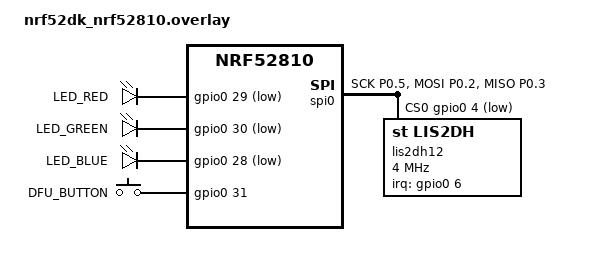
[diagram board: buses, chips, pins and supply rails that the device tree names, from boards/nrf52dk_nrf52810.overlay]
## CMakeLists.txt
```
cmake_minimum_required(VERSION 3.20.0)
set(BOARD_ROOT ${CMAKE_CURRENT_LIST_DIR})
find_package(Zephyr REQUIRED HINTS $ENV{ZEPHYR_BASE})
project(trap_beacon_lis2dh_spi)
target_sources(app PRIVATE src/main.c)
```

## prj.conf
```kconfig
CONFIG_BT=y
CONFIG_BT_BROADCASTER=y
CONFIG_BT_PERIPHERAL=y
CONFIG_BT_DEVICE_NAME="YarnBeacon"

CONFIG_GPIO=y
CONFIG_SPI=y


CONFIG_MAIN_STACK_SIZE=1536
CONFIG_SYSTEM_WORKQUEUE_STACK_SIZE=1024
CONFIG_ISR_STACK_SIZE=1024
CONFIG_IDLE_STACK_SIZE=256

CONFIG_BT_MAX_CONN=1
CONFIG_BT_RX_STACK_SIZE=1024
CONFIG_BT_HCI_TX_STACK_SIZE=512
CONFIG_BT_BUF_CMD_TX_COUNT=2
CONFIG_BT_BUF_EVT_RX_COUNT=2
CONFIG_BT_BUF_ACL_RX_COUNT=2
CONFIG_BT_BUF_ACL_TX_COUNT=1
CONFIG_BT_L2CAP_TX_BUF_COUNT=2
CONFIG_BT_CONN_TX_MAX=2
CONFIG_BT_CTLR_DATA_LENGTH_MAX=27
CONFIG_BT_BUF_ACL_TX_SIZE=27
CONFIG_BT_BUF_ACL_RX_SIZE=27
```

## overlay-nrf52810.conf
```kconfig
CONFIG_BT_SMP=n
CONFIG_BT_SETTINGS=n
CONFIG_CONSOLE=y
CONFIG_PRINTK=y
```

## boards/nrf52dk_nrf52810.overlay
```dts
/ {
    leds {
        compatible = "gpio-leds";
        led_red: red {
            gpios = <&gpio0 29 GPIO_ACTIVE_LOW>;
            label = "LED_RED";
        };
        led_green: green {
            gpios = <&gpio0 30 GPIO_ACTIVE_LOW>;
            label = "LED_GREEN";
        };
        led_blue: blue {
            gpios = <&gpio0 28 GPIO_ACTIVE_LOW>;
            label = "LED_BLUE";
        };
    };

    buttons {
        compatible = "gpio-keys";
        dfu_button: dfu_button {
            gpios = <&gpio0 31 GPIO_ACTIVE_HIGH>;
            label = "DFU_BUTTON";
        };
    };

    aliases {
        led0 = &led_red;
        led1 = &led_green;
        led2 = &led_blue;
        sw0 = &dfu_button;
    };
};

/* Pin control for SPIM0: SCK=P0.05, MOSI=P0.02, MISO=P0.03 */
&pinctrl {
    spi0_default: spi0_default {
        group1 {
            psels = <NRF_PSEL(SPIM_SCK, 0, 5)>,
                    <NRF_PSEL(SPIM_MOSI, 0, 2)>,
                    <NRF_PSEL(SPIM_MISO, 0, 3)>;
        };
    };
    spi0_sleep: spi0_sleep {
        group1 {
            psels = <NRF_PSEL(SPIM_SCK, 0, 5)>,
                    <NRF_PSEL(SPIM_MOSI, 0, 2)>,
                    <NRF_PSEL(SPIM_MISO, 0, 3)>;
            low-power-enable;
        };
    };
};

&spi0 {
    status = "okay";
    pinctrl-0 = <&spi0_default>;
    pinctrl-1 = <&spi0_sleep>;
    pinctrl-names = "default", "sleep";

    /* CS = P0.04 (active low) */
    cs-gpios = <&gpio0 4 GPIO_ACTIVE_LOW>;

    lis2dh12: lis2dh12@0 {
        compatible = "st,lis2dh";
        reg = <0>;                          /* CS index 0 */
        spi-max-frequency = <4000000>;
        /* INT1 -> P0.06 (active high) */
        irq-gpios = <&gpio0 6 GPIO_ACTIVE_HIGH>;
        status = "okay";
    };
};
```

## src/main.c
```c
#include <zephyr/kernel.h>
#include <zephyr/device.h>
#include <zephyr/devicetree.h>
#include <zephyr/drivers/gpio.h>
#include <zephyr/drivers/spi.h>
#include <zephyr/bluetooth/bluetooth.h>
#include <zephyr/bluetooth/hci.h>
#include <zephyr/bluetooth/conn.h>
#include <zephyr/bluetooth/gatt.h>
#include <string.h>

/* --- LIS2DH12 accelerometer configuration ------------------------------ */

#define LIS_NODE DT_NODELABEL(lis2dh12)
#if !DT_NODE_EXISTS(LIS_NODE)
#error "LIS2DH12 node missing. Check board overlay."
#endif

static const struct spi_dt_spec lis =
    SPI_DT_SPEC_GET(LIS_NODE, SPI_WORD_SET(8) | SPI_TRANSFER_MSB, 0);

static const struct gpio_dt_spec lis_irq =
    GPIO_DT_SPEC_GET_OR(LIS_NODE, irq_gpios, {0});

#define REG_CTRL1    0x20
#define REG_CTRL3    0x22
#define REG_CTRL4    0x23
#define REG_CTRL5    0x24
#define REG_INT1_CFG 0x30
#define REG_INT1_SRC 0x31
#define REG_INT1_THS 0x32
#define REG_INT1_DUR 0x33

#define LIS_SPI_READ    0x80
#define LIS_SPI_AUTOINC 0x40

/* --- LEDs --------------------------------------------------------------- */

#define LED_RED_NODE   DT_ALIAS(led0)
#define LED_GREEN_NODE DT_ALIAS(led1)
#define LED_BLUE_NODE  DT_ALIAS(led2)
static const struct gpio_dt_spec led_red   = GPIO_DT_SPEC_GET(LED_RED_NODE, gpios);
static const struct gpio_dt_spec led_green = GPIO_DT_SPEC_GET(LED_GREEN_NODE, gpios);
static const struct gpio_dt_spec led_blue  = GPIO_DT_SPEC_GET(LED_BLUE_NODE, gpios);

/* --- User button ------------------------------------------------------- */

#define SW0_NODE DT_ALIAS(sw0)
#if !DT_NODE_HAS_STATUS(SW0_NODE, okay)
#warning "No sw0 alias in DT; button disabled"
#else
static const struct gpio_dt_spec user_btn = GPIO_DT_SPEC_GET(SW0_NODE, gpios);
#endif

/* --- Beacon payload ---------------------------------------------------- */

/* Manufacturer data layout: [CompanyID(2)][state][battery] */
#define MFG_STATE_IDX 2
#define MFG_BATT_IDX  3
static uint8_t mfg_payload[] = { 0xFF, 0xFF, 0x00, 0x00 };

static uint8_t triggered_state;
static uint8_t battery_state = 1; /* 1 = good, 0 = low */
static uint32_t trigger_count;
static int64_t last_trigger_ms;

/* Advertised name. Updated via phone app; default placeholder. */
static char devname[20] = "YMT-UNNAMED";

static struct bt_data ad_nonconn[] = {
    BT_DATA(BT_DATA_MANUFACTURER_DATA, mfg_payload, sizeof(mfg_payload)),
};

static struct bt_data ad_conn[2]; /* filled at runtime */

/* Advertising parameters */
static const struct bt_le_adv_param adv_slow = {
    .options = BT_LE_ADV_OPT_USE_IDENTITY,
    .interval_min = 0x1F40, /* 5 s */
    .interval_max = 0x1F40, /* 5 s */
};

static const struct bt_le_adv_param adv_fast = {
    .options = BT_LE_ADV_OPT_USE_IDENTITY,
    .interval_min = 0x00A0, /* 100 ms */
    .interval_max = 0x00F0, /* 150 ms */
};

static const struct bt_le_adv_param adv_conn = {
    .options = BT_LE_ADV_OPT_CONNECTABLE | BT_LE_ADV_OPT_USE_IDENTITY,
    .interval_min = 0x00A0,
    .interval_max = 0x00F0,
};

/* Work items ------------------------------------------------------------- */

static struct k_work_delayable slow_adv_work;
static struct k_work_delayable conn_timeout_work;
static struct k_work_delayable session_timeout_work;
static struct k_work_delayable battery_work;

struct flash_ctx {
    struct k_work_delayable work;
    const struct gpio_dt_spec *led;
};

static void flash_cycle(struct k_work *work)
{
    struct flash_ctx *ctx = CONTAINER_OF(work, struct flash_ctx, work);
    gpio_pin_set_dt(ctx->led, 1);
    k_msleep(100);
    gpio_pin_set_dt(ctx->led, 0);
    k_work_schedule(&ctx->work, K_SECONDS(5));
}

static inline void flash_ctx_init(struct flash_ctx *ctx,
                                  const struct gpio_dt_spec *led)
{
    k_work_init_delayable(&ctx->work, flash_cycle);
    ctx->led = led;
}

static inline void flash_ctx_start(struct flash_ctx *ctx)
{
    k_work_cancel_delayable(&ctx->work);
    k_work_schedule(&ctx->work, K_NO_WAIT);
}

static inline void flash_ctx_stop(struct flash_ctx *ctx)
{
    k_work_cancel_delayable(&ctx->work);
    gpio_pin_set_dt(ctx->led, 0);
}

/* Power-on self-test LED sequence: red, green, blue */
static void led_post(void)
{
    const struct gpio_dt_spec *seq[] = { &led_red, &led_green, &led_blue };
    for (size_t i = 0; i < ARRAY_SIZE(seq); i++) {
        gpio_pin_set_dt(seq[i], 1);
        k_msleep(100);
        gpio_pin_set_dt(seq[i], 0);
        k_msleep(100);
    }
}

static void flash_green_once(struct k_work *work)
{
    ARG_UNUSED(work);
    gpio_pin_set_dt(&led_green, 1);
    k_msleep(100);
    gpio_pin_set_dt(&led_green, 0);
}

static void flash_green_twice(struct k_work *work)
{
    ARG_UNUSED(work);
    for (int i = 0; i < 2; i++) {
        gpio_pin_set_dt(&led_green, 1);
        k_msleep(100);
        gpio_pin_set_dt(&led_green, 0);
        k_msleep(100);
    }
}

static struct flash_ctx red_flash;
static struct flash_ctx blue_flash;
static struct k_work green_flash_work;
static struct k_work green_double_work;

static bool connectable_mode;
static struct bt_conn *curr_conn;

static int lis_config_high_g(uint8_t fs_sel, uint8_t ths_raw, uint8_t dur);

/* --- GATT configuration service ---------------------------------------- */

#define BT_UUID_CFG_SERVICE_VAL   BT_UUID_128_ENCODE(0x4e9a0001, 0x9f31, 0x415b, 0x8f82, 0x94dfc6201ca8)
#define BT_UUID_ACCEL_THRESH_VAL  BT_UUID_128_ENCODE(0x4e9a0002, 0x9f31, 0x415b, 0x8f82, 0x94dfc6201ca8)
#define BT_UUID_CFG_SERVICE       BT_UUID_DECLARE_128(BT_UUID_CFG_SERVICE_VAL)
#define BT_UUID_ACCEL_THRESH      BT_UUID_DECLARE_128(BT_UUID_ACCEL_THRESH_VAL)

static uint8_t accel_thresh = 0x14;

static ssize_t read_thresh(struct bt_conn *conn, const struct bt_gatt_attr *attr,
                           void *buf, uint16_t len, uint16_t offset)
{
    return bt_gatt_attr_read(conn, attr, buf, len, offset,
                             attr->user_data, sizeof(accel_thresh));
}

static ssize_t write_thresh(struct bt_conn *conn, const struct bt_gatt_attr *attr,
                            const void *buf, uint16_t len, uint16_t offset, uint8_t flags)
{
    if (len != 1 || offset != 0) {
        return BT_GATT_ERR(BT_ATT_ERR_INVALID_ATTRIBUTE_LEN);
    }

    uint8_t *val = attr->user_data;
    *val = *(const uint8_t *)buf;
    (void)lis_config_high_g(3, *val, 0x01);
    k_work_submit(&green_flash_work);
    return len;
}

BT_GATT_SERVICE_DEFINE(cfg_svc,
    BT_GATT_PRIMARY_SERVICE(BT_UUID_CFG_SERVICE),
    BT_GATT_CHARACTERISTIC(BT_UUID_ACCEL_THRESH,
                           BT_GATT_CHRC_READ | BT_GATT_CHRC_WRITE,
                           BT_GATT_PERM_READ | BT_GATT_PERM_WRITE,
                           read_thresh, write_thresh, &accel_thresh),
);

/* --- Helpers ------------------------------------------------------------ */

static void update_adv_payload(void)
{
    mfg_payload[MFG_STATE_IDX] = triggered_state;
    mfg_payload[MFG_BATT_IDX]  = battery_state;

    if (connectable_mode) {
        ad_conn[1].data = mfg_payload;
        ad_conn[1].data_len = sizeof(mfg_payload);
        (void)bt_le_adv_update_data(ad_conn, ARRAY_SIZE(ad_conn), NULL, 0);
    } else {
        (void)bt_le_adv_update_data(ad_nonconn, ARRAY_SIZE(ad_nonconn), NULL, 0);
    }
}

static int lis_write_reg(uint8_t reg, uint8_t val)
{
    uint8_t tx[2] = { reg & ~(LIS_SPI_READ | LIS_SPI_AUTOINC), val };
    const struct spi_buf buf = { .buf = tx, .len = sizeof(tx) };
    const struct spi_buf_set txs = { .buffers = &buf, .count = 1 };
    return spi_write_dt(&lis, &txs);
}

static int lis_read_reg(uint8_t reg, uint8_t *val)
{
    uint8_t tx = reg | LIS_SPI_READ;
    const struct spi_buf txb = { .buf = &tx, .len = 1 };
    const struct spi_buf rxb = { .buf = val, .len = 1 };
    const struct spi_buf_set txs = { .buffers = &txb, .count = 1 };
    const struct spi_buf_set rxs = { .buffers = &rxb, .count = 1 };
    return spi_transceive_dt(&lis, &txs, &rxs);
}

static int lis_config_high_g(uint8_t fs_sel, uint8_t ths_raw, uint8_t dur)
{
    int err;
    err = lis_write_reg(REG_CTRL1, 0x27);
    if (err) return err;
    uint8_t ctrl4 = (fs_sel & 0x3) << 4;
    err = lis_write_reg(REG_CTRL4, ctrl4);
    if (err) return err;
    err = lis_write_reg(REG_CTRL5, 0x08);
    if (err) return err;
    err = lis_write_reg(REG_INT1_THS, ths_raw);
    if (err) return err;
    err = lis_write_reg(REG_INT1_DUR, dur);
    if (err) return err;
    err = lis_write_reg(REG_INT1_CFG, 0x2A);
    if (err) return err;
    err = lis_write_reg(REG_CTRL3, 0x40);
    return err;
}

static void lis_clear_int(void)
{
    uint8_t src;
    (void)lis_read_reg(REG_INT1_SRC, &src);
}

static void switch_to_slow_adv(struct k_work *work)
{
    ARG_UNUSED(work);
    connectable_mode = false;
    (void)bt_le_adv_stop();
    (void)bt_le_adv_start(&adv_slow, ad_nonconn, ARRAY_SIZE(ad_nonconn), NULL, 0);
    flash_ctx_stop(&red_flash);
    flash_ctx_stop(&blue_flash);
}

static void conn_timeout(struct k_work *work)
{
    ARG_UNUSED(work);
    switch_to_slow_adv(NULL);
}

static void session_timeout(struct k_work *work)
{
    ARG_UNUSED(work);
    if (curr_conn) {
        bt_conn_disconnect(curr_conn, BT_HCI_ERR_REMOTE_USER_TERM_CONN);
    }
}

/* Battery check placeholder */
static void check_battery(struct k_work *work)
{
    ARG_UNUSED(work);
    /* TODO: Read actual battery level via ADC */
    battery_state = 1;
    update_adv_payload();
    k_work_reschedule(&battery_work, K_MINUTES(1));
}

static void start_connectable_window(int seconds)
{
    k_work_cancel_delayable(&slow_adv_work);
    k_work_cancel_delayable(&conn_timeout_work);

    connectable_mode = true;

    ad_conn[0].type = BT_DATA_NAME_COMPLETE;
    ad_conn[0].data = devname;
    ad_conn[0].data_len = strlen(devname);
    ad_conn[1].type = BT_DATA_MANUFACTURER_DATA;
    ad_conn[1].data = mfg_payload;
    ad_conn[1].data_len = sizeof(mfg_payload);

    (void)bt_le_adv_stop();
    (void)bt_le_adv_start(&adv_conn, ad_conn, ARRAY_SIZE(ad_conn), NULL, 0);
    flash_ctx_stop(&blue_flash);
    flash_ctx_start(&red_flash);
    k_work_reschedule(&conn_timeout_work, K_SECONDS(seconds));
}

static void set_triggered_and_burst(bool value)
{
    triggered_state = value ? 1 : 0;
    if (triggered_state) {
        trigger_count++;
        last_trigger_ms = k_uptime_get();
    }
    update_adv_payload();
    (void)bt_le_adv_stop();
    (void)bt_le_adv_start(&adv_fast, ad_nonconn, ARRAY_SIZE(ad_nonconn), NULL, 0);
    k_work_reschedule(&slow_adv_work, K_SECONDS(45));
}

static void reset_trigger(void)
{
    triggered_state = 0;
    update_adv_payload();
}

/* --- ISRs --------------------------------------------------------------- */

static struct gpio_callback irq_cb;
static struct gpio_callback btn_cb;

static void lis_int_isr(const struct device *dev, struct gpio_callback *cb, uint32_t pins)
{
    ARG_UNUSED(dev); ARG_UNUSED(cb); ARG_UNUSED(pins);
    lis_clear_int();
    set_triggered_and_burst(true);
}

static int64_t btn_pressed_ms = -1;
#define LONG_PRESS_MS 2000
#define SHORT_PRESS_MAX_MS 1000
#define SHORT_MIN_MS 50

static void user_button_isr(const struct device *dev, struct gpio_callback *cb, uint32_t pins)
{
    ARG_UNUSED(dev); ARG_UNUSED(cb); ARG_UNUSED(pins);
#if DT_NODE_HAS_STATUS(SW0_NODE, okay)
    int level = gpio_pin_get_dt(&user_btn);
    int64_t now = k_uptime_get();
    if (level > 0) {
        btn_pressed_ms = now;
    } else {
        if (btn_pressed_ms >= 0) {
            int64_t dur = now - btn_pressed_ms;
            btn_pressed_ms = -1;
            if (dur >= LONG_PRESS_MS) {
                start_connectable_window(60);
            } else if (dur >= SHORT_MIN_MS && dur <= SHORT_PRESS_MAX_MS) {
                reset_trigger();
                k_work_submit(&green_double_work);
            }
        }
    }
#endif
}

/* --- Connection callbacks ---------------------------------------------- */

static void connected(struct bt_conn *conn, uint8_t err)
{
    if (err) {
        return;
    }
    curr_conn = bt_conn_ref(conn);
    k_work_cancel_delayable(&conn_timeout_work);
    k_work_reschedule(&session_timeout_work, K_MINUTES(2));
    flash_ctx_stop(&red_flash);
    flash_ctx_start(&blue_flash);
}

static void disconnected(struct bt_conn *conn, uint8_t reason)
{
    ARG_UNUSED(reason);
    if (curr_conn) {
        bt_conn_unref(curr_conn);
        curr_conn = NULL;
    }
    k_work_cancel_delayable(&session_timeout_work);
    conn_timeout(NULL);
}

static struct bt_conn_cb conn_cbs = {
    .connected = connected,
    .disconnected = disconnected,
};

/* --- Main ---------------------------------------------------------------- */

int main(void)
{
    int err;

    if (!device_is_ready(lis.bus))       { return -ENODEV; }
    if (!device_is_ready(lis_irq.port))  { return -ENODEV; }
    if (!device_is_ready(led_red.port))  { return -ENODEV; }
#if DT_NODE_HAS_STATUS(SW0_NODE, okay)
    if (!device_is_ready(user_btn.port)) { return -ENODEV; }
#endif

    gpio_pin_configure_dt(&led_red, GPIO_OUTPUT_INACTIVE);
    gpio_pin_configure_dt(&led_green, GPIO_OUTPUT_INACTIVE);
    gpio_pin_configure_dt(&led_blue, GPIO_OUTPUT_INACTIVE);

    led_post();

    gpio_pin_configure_dt(&lis_irq, GPIO_INPUT | GPIO_PULL_UP);
    gpio_pin_interrupt_configure_dt(&lis_irq, GPIO_INT_EDGE_TO_ACTIVE);
    gpio_init_callback(&irq_cb, lis_int_isr, BIT(lis_irq.pin));
    gpio_add_callback(lis_irq.port, &irq_cb);

#if DT_NODE_HAS_STATUS(SW0_NODE, okay)
    gpio_pin_configure_dt(&user_btn, GPIO_INPUT | GPIO_PULL_UP);
    gpio_init_callback(&btn_cb, user_button_isr, BIT(user_btn.pin));
    gpio_add_callback(user_btn.port, &btn_cb);
    gpio_pin_interrupt_configure_dt(&user_btn, GPIO_INT_EDGE_BOTH);
#endif

    err = bt_enable(NULL);
    if (err) {
        return err;
    }

    bt_set_name(devname);
    bt_conn_cb_register(&conn_cbs);

    k_work_init_delayable(&slow_adv_work, switch_to_slow_adv);
    k_work_init_delayable(&conn_timeout_work, conn_timeout);
    k_work_init_delayable(&session_timeout_work, session_timeout);
    k_work_init_delayable(&battery_work, check_battery);
    flash_ctx_init(&red_flash, &led_red);
    flash_ctx_init(&blue_flash, &led_blue);
    k_work_init(&green_flash_work, flash_green_once);
    k_work_init(&green_double_work, flash_green_twice);

    update_adv_payload();
    (void)bt_le_adv_start(&adv_slow, ad_nonconn, ARRAY_SIZE(ad_nonconn), NULL, 0);
    k_work_reschedule(&battery_work, K_MINUTES(1));

    err = lis_config_high_g(3, accel_thresh, 0x01);
    (void)err;

    for (;;) {
        k_sleep(K_FOREVER);
    }
}
```
